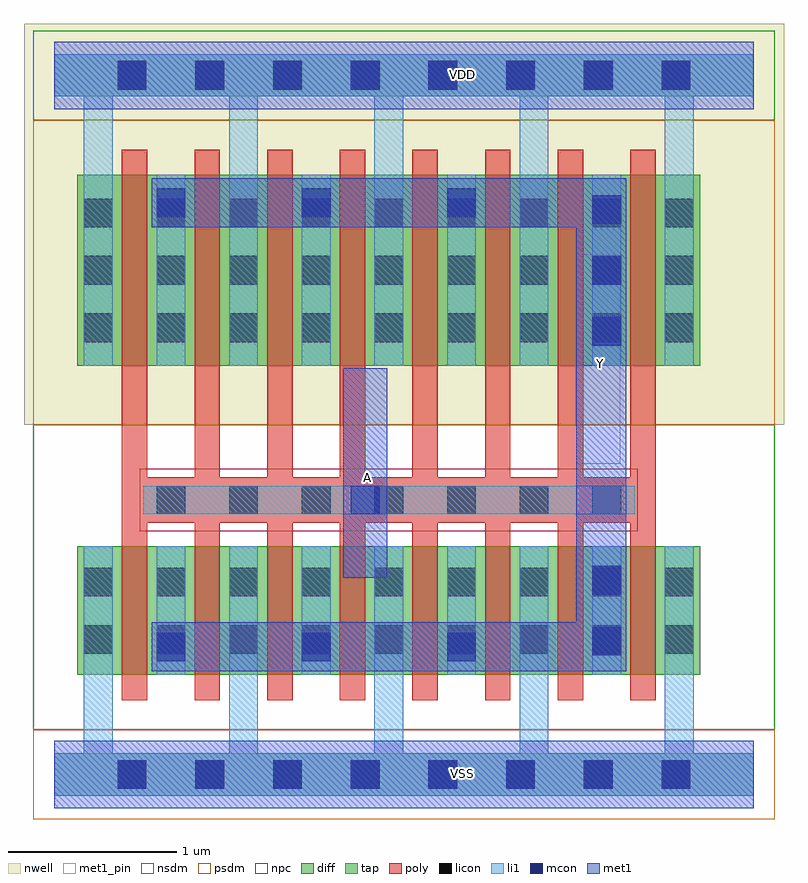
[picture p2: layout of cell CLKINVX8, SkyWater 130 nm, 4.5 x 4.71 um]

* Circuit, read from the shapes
.subckt CLKINVX8 A VDD VSS Y
XM1 Y A VSS VSS sky130_fd_pr__nfet_01v8 w=0.76 l=0.15 m=8
XM2 Y A VDD VDD sky130_fd_pr__pfet_01v8 w=1.13 l=0.15 m=8
.ends

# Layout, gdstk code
from math import pi, radians
import gdstk
lib = gdstk.Library(unit=1e-6, precision=1e-09)
def R(c, l, rs):  # rectangles x0, y0, x1, y1
    for r in rs: c.add(gdstk.rectangle(r[:2], r[2:], *l))
def A(c, l, x, y, w, h, nx, ny, dx, dy):  # array of equal rectangles
    R(c, l, [(x+i*dx, y+j*dy, x+i*dx+w, y+j*dy+h) for i in range(nx) for j in range(ny)])
def P(c, l, *ps):  # polygons
    for p in ps: c.add(gdstk.Polygon(p, *l))
nwell = (64, 20)
diff = (65, 20)
tap = (65, 44)
poly = (66, 20)
licon = (66, 44)
li1 = (67, 20)
mcon = (67, 44)
met1_pin = (68, 16)
met1 = (68, 20)
nsdm = (93, 44)
psdm = (94, 20)
npc = (95, 20)

pyl1con_c_cdns_751554744 = lib.new_cell('PYL1CON_C_CDNS_751554744751')
R(pyl1con_c_cdns_751554744, poly, [(-0.135,-0.165,0.135,0.165)])
R(pyl1con_c_cdns_751554744, licon, [(-0.085,-0.085,0.085,0.085)])
R(pyl1con_c_cdns_751554744, npc, [(-0.185,-0.185,0.185,0.185)])

l1m1_c_cdns_751554744750 = lib.new_cell('L1M1_C_CDNS_751554744750$$8')
R(l1m1_c_cdns_751554744750, li1, [(-0.085,-0.165,0.085,0.165)])
R(l1m1_c_cdns_751554744750, mcon, [(-0.085,-0.085,0.085,0.085)])
R(l1m1_c_cdns_751554744750, met1, [(-0.115,-0.145,0.115,0.145)])

c_l1m1_c_cdns_751554744750 = lib.new_cell('L1M1_C_CDNS_751554744750$$9')
R(c_l1m1_c_cdns_751554744750, li1, [(-0.165,-0.085,0.165,0.085)])
R(c_l1m1_c_cdns_751554744750, mcon, [(-0.085,-0.085,0.085,0.085)])
R(c_l1m1_c_cdns_751554744750, met1, [(-0.115,-0.145,0.115,0.145)])

c_l1m1_c_cdns_751554744750_ = lib.new_cell('L1M1_C_CDNS_751554744750$$11')
R(c_l1m1_c_cdns_751554744750_, li1, [(-0.085,-0.525,0.085,0.525)])
A(c_l1m1_c_cdns_751554744750_, mcon, -0.085, -0.445, 0.17, 0.17, 1, 3, 0, 0.36)
R(c_l1m1_c_cdns_751554744750_, met1, [(-0.115,-0.505,0.115,0.505)])

c_l1m1_c_cdns_751554744750__ = lib.new_cell('L1M1_C_CDNS_751554744750$$7')
R(c_l1m1_c_cdns_751554744750__, li1, [(-0.085,-0.345,0.085,0.345)])
R(c_l1m1_c_cdns_751554744750__, mcon, [(-0.085,-0.265,0.085,-0.095), (-0.085,0.095,0.085,0.265)])
R(c_l1m1_c_cdns_751554744750__, met1, [(-0.115,-0.325,0.115,0.325)])

clkinvx8 = lib.new_cell('CLKINVX8')
R(clkinvx8, nwell, [(-0.18,2.07,4.32,4.445)])
R(clkinvx8, diff, [(0.135,0.59,3.825,1.35), (0.135,2.42,3.825,3.55)])
A(clkinvx8, poly, 0.4, 0.44, 0.15, 3.26, 8, 1, 0.43, 0)
A(clkinvx8, licon, 0.375, -0.085, 0.17, 0.17, 8, 2, 0.46, 4.14)
A(clkinvx8, licon, 0.175, 0.715, 0.17, 0.17, 9, 2, 0.43, 0.34)
A(clkinvx8, licon, 0.175, 2.56, 0.17, 0.17, 9, 3, 0.43, 0.34)
A(clkinvx8, li1, 0.605, 0.59, 0.17, 0.76, 4, 1, 0.86, 0)
A(clkinvx8, li1, 0.605, 2.42, 0.17, 1.13, 4, 1, 0.86, 0)
P(clkinvx8, li1, [(4.14,4.265),(0,4.265),(0,4.015),(0.175,4.015),(0.175,2.42),(0.345,2.42),(0.345,4.015),(1.035,4.015),(1.035,2.42),(1.205,2.42),(1.205,4.015),(1.895,4.015),(1.895,2.42),(2.065,2.42),(2.065,4.015),(2.755,4.015),(2.755,2.42),(2.925,2.42),(2.925,4.015),(3.615,4.015),(3.615,2.42),(3.785,2.42),(3.785,4.015),(4.14,4.015)],
  [(4.14,0.125),(3.785,0.125),(3.785,1.35),(3.615,1.35),(3.615,0.125),(2.925,0.125),(2.925,1.35),(2.755,1.35),(2.755,0.125),(2.065,0.125),(2.065,1.35),(1.895,1.35),(1.895,0.125),(1.205,0.125),(1.205,1.35),(1.035,1.35),(1.035,0.125),(0.345,0.125),(0.345,1.35),(0.175,1.35),(0.175,0.125),(0,0.125),(0,-0.125),(4.14,-0.125)])
A(clkinvx8, mcon, 0.375, -0.085, 0.17, 0.17, 8, 2, 0.46, 4.14)
R(clkinvx8, met1_pin, [(1.71,1.165,1.97,2.405), (3.09,1.84,3.35,3.08)])
P(clkinvx8, met1, [(3.385,3.53),(0.575,3.53),(0.575,3.24),(3.09,3.24),(3.09,0.9),(0.575,0.9),(0.575,0.61),(3.385,0.61)])
R(clkinvx8, nsdm, [(-0.125,0.265,4.265,2.07), (-0.125,3.875,4.265,4.405)])
R(clkinvx8, psdm, [(-0.125,-0.265,4.265,0.265), (-0.125,2.07,4.265,3.875)])
R(clkinvx8, npc, [(0.505,1.44,3.455,1.81)])
clkinvx8.add(gdstk.FlexPath([(0.525,1.625),(3.435,1.625)], 0.17, ends="flush", simple_path=True, layer=67, datatype=20))  # li1
clkinvx8.add(gdstk.FlexPath([(0,4.14),(4.14,4.14)], 0.25, ends="flush", simple_path=True, layer=65, datatype=44))  # tap
clkinvx8.add(gdstk.FlexPath([(0,0),(4.14,0)], 0.25, ends="flush", simple_path=True, layer=65, datatype=44))  # tap
clkinvx8.add(gdstk.FlexPath([(1.84,1.165),(1.84,2.405)], 0.26, ends="flush", simple_path=True, layer=68, datatype=20))  # met1
clkinvx8.add(gdstk.FlexPath([(0,0),(4.14,0)], 0.4, ends="flush", simple_path=True, layer=68, datatype=20))  # met1
clkinvx8.add(gdstk.FlexPath([(0,4.14),(4.14,4.14)], 0.4, ends="flush", simple_path=True, layer=68, datatype=20))  # met1
clkinvx8.add(gdstk.FlexPath([(0,0),(4.14,0)], 0.4, ends="flush", simple_path=True, layer=68, datatype=16))  # met1_pin
clkinvx8.add(gdstk.FlexPath([(0,4.14),(4.14,4.14)], 0.4, ends="flush", simple_path=True, layer=68, datatype=16))  # met1_pin
clkinvx8.add(gdstk.Reference(pyl1con_c_cdns_751554744, (0.69,1.625), rotation=3*pi/2, x_reflection=True))
clkinvx8.add(gdstk.Reference(pyl1con_c_cdns_751554744, (1.12,1.625), rotation=3*pi/2, x_reflection=True))
clkinvx8.add(gdstk.Reference(pyl1con_c_cdns_751554744, (1.55,1.625), rotation=3*pi/2, x_reflection=True))
clkinvx8.add(gdstk.Reference(pyl1con_c_cdns_751554744, (1.98,1.625), rotation=3*pi/2, x_reflection=True))
clkinvx8.add(gdstk.Reference(pyl1con_c_cdns_751554744, (2.41,1.625), rotation=3*pi/2, x_reflection=True))
clkinvx8.add(gdstk.Reference(pyl1con_c_cdns_751554744, (2.84,1.625), rotation=3*pi/2, x_reflection=True))
clkinvx8.add(gdstk.Reference(pyl1con_c_cdns_751554744, (3.27,1.625), rotation=3*pi/2, x_reflection=True))
clkinvx8.add(gdstk.Reference(l1m1_c_cdns_751554744750, (0.69,3.385)))
clkinvx8.add(gdstk.Reference(l1m1_c_cdns_751554744750, (0.69,0.755)))
clkinvx8.add(gdstk.Reference(l1m1_c_cdns_751554744750, (1.55,3.385)))
clkinvx8.add(gdstk.Reference(l1m1_c_cdns_751554744750, (1.55,0.755)))
clkinvx8.add(gdstk.Reference(l1m1_c_cdns_751554744750, (2.41,3.385)))
clkinvx8.add(gdstk.Reference(l1m1_c_cdns_751554744750, (2.41,0.755)))
clkinvx8.add(gdstk.Reference(c_l1m1_c_cdns_751554744750, (1.84,1.625), x_reflection=True))
clkinvx8.add(gdstk.Reference(c_l1m1_c_cdns_751554744750_, (3.27,2.985)))
clkinvx8.add(gdstk.Reference(c_l1m1_c_cdns_751554744750__, (3.27,0.97)))
clkinvx8.add(gdstk.Label('VSS', (2.415,0.005), layer=68, texttype=5))
clkinvx8.add(gdstk.Label('A', (1.855,1.76), layer=68, texttype=5))
clkinvx8.add(gdstk.Label('Y', (3.235,2.435), layer=68, texttype=5))
clkinvx8.add(gdstk.Label('VDD', (2.415,4.145), layer=68, texttype=5))

lib.write_gds('CLKINVX8.gds')
